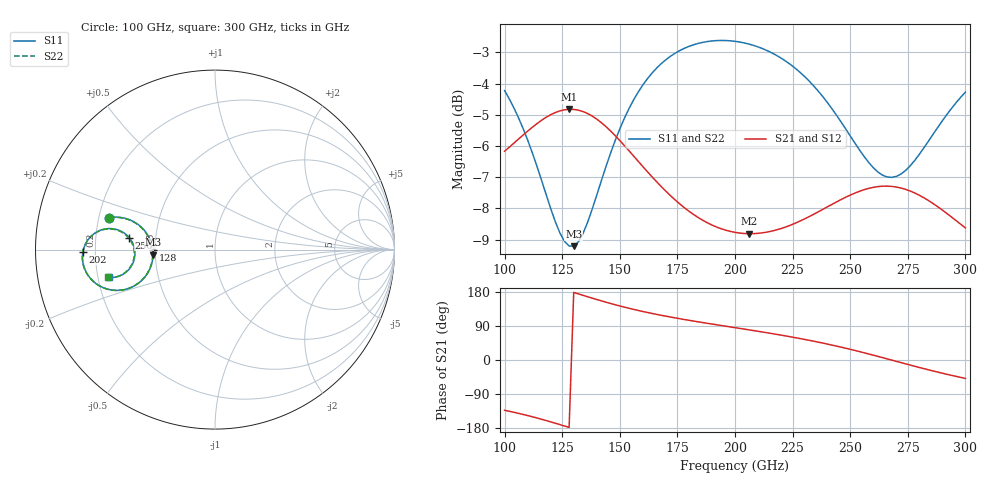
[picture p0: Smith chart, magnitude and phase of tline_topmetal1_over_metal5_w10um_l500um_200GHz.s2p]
#  GHZ S DB R 50
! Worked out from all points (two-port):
!   101 points, 100 GHz to 300 GHz, reference 50 ohm
!   highest |S21| = -4.82 dB at 128 GHz (marker M1); lowest = -8.8 dB at 206 GHz (marker M2)
!   |S21| within 3 dB of the highest: start of sweep to 175.5 GHz; 243.3 GHz to 285.5 GHz (42.2 GHz wide, 16 % of centre)
!   lowest |S11| = -9.2 dB at 130 GHz (marker M3), VSWR 2.06, Z = 24.3 - j1.56 ohm
!   |S11| at or under -10 dB: nowhere
!   |S22| runs from -9.2 to -2.6 dB; largest |S21 - S12| = 6.6e-14
!   S11 on the Smith chart (normalised r, x): 100 GHz: 0.24, +0.14; 128 GHz: 0.49, -0.00; 202 GHz: 0.15, -0.01; 256 GHz: 0.35, +0.06; 300 GHz: 0.24, -0.12
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100  -4.22 163.2  -6.17 -132.7  -6.17 -132.7  -4.22 163.3
108  -5.43 160.8  -5.65 -143.6  -5.65 -143.6  -5.42 161.0
114  -6.64 161.4  -5.28 -153.0  -5.28 -153.0  -6.62 161.5
122  -8.43 168.5  -4.93 -166.8  -4.93 -166.8  -8.39 168.7
128  -9.21 -179.9  -4.82 -178.0  -4.82 -178.0  -9.17 -179.7
130  -9.21 -175.3  -4.83 178.3  -4.83 178.3  -9.17 -175.3
134  -8.81 -166.9  -4.89 170.7  -4.89 170.7  -8.77 -166.9
142  -7.11 -157.2  -5.25 156.0  -5.25 156.0  -7.09 -157.3
150  -5.45 -155.9  -5.82 142.6  -5.82 142.6  -5.43 -155.9
158  -4.27 -158.3  -6.49 130.8  -6.49 130.8  -4.26 -158.3
168  -3.36 -163.1  -7.30 118.0  -7.30 118.0  -3.35 -163.0
184  -2.71 -171.0  -8.29 100.8  -8.29 100.8  -2.70 -170.9
200  -2.64 -178.2  -8.77 85.4  -8.77 85.4  -2.63 -178.1
202  -2.67 -179.1  -8.79 83.5  -8.79 83.5  -2.66 -179.0
206  -2.73 179.2  -8.81 79.6  -8.81 79.6  -2.72 179.3
220  -3.18 173.7  -8.65 65.6  -8.65 65.6  -3.17 173.9
234  -4.06 169.5  -8.19 49.8  -8.19 49.8  -4.04 169.7
246  -5.22 168.6  -7.72 34.0  -7.72 34.0  -5.19 168.8
256  -6.33 172.1  -7.40 19.1  -7.40 19.1  -6.28 172.3
268  -7.01 -177.5  -7.29 -0.2  -7.29 -0.2  -6.94 -177.4
284  -5.84 -165.8  -7.75 -25.9  -7.75 -25.9  -5.79 -165.8
300  -4.27 -165.3  -8.63 -48.6  -8.63 -48.6  -4.24 -165.4
